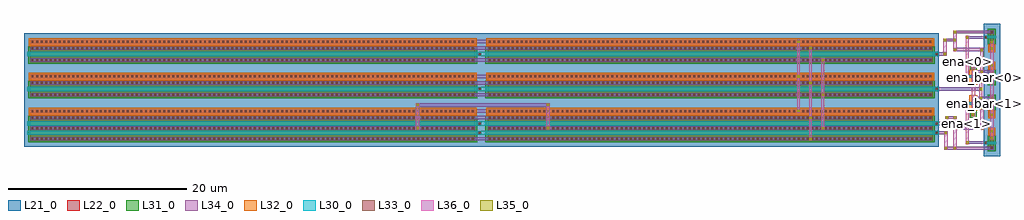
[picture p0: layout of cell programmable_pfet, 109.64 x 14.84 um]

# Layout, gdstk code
from math import pi, radians
import gdstk
lib = gdstk.Library(unit=1e-6, precision=5e-09)
def R(c, l, rs):  # rectangles x0, y0, x1, y1
    for r in rs: c.add(gdstk.rectangle(r[:2], r[2:], *l))
def A(c, l, x, y, w, h, nx, ny, dx, dy):  # array of equal rectangles
    R(c, l, [(x+i*dx, y+j*dy, x+i*dx+w, y+j*dy+h) for i in range(nx) for j in range(ny)])
L21_0 = (21, 0)
L22_0 = (22, 0)
L30_0 = (30, 0)
L31_0 = (31, 0)
L32_0 = (32, 0)
L33_0 = (33, 0)
L34_0 = (34, 0)
L35_0 = (35, 0)
L36_0 = (36, 0)

pfet_2 = lib.new_cell('pfet$2')
R(pfet_2, L21_0, [(-1.15,-0.69,2.76,50.69)])
R(pfet_2, L22_0, [(-0.46,0,0,50), (0,0,0.88,50), (0.88,0,1.34,50), (1.34,0,2.07,50)])
R(pfet_2, L30_0, [(0.19,-0.3,0.69,50.3), (0.19,50.3,0.69,50.68)])
R(pfet_2, L31_0, [(-0.63,-0.24,1.34,50.24)])
R(pfet_2, L32_0, [(1.34,-0.17,2.24,50.17)])
A(pfet_2, L33_0, -0.34, 0.155, 0.22, 0.22, 1, 98, 0, 0.51)
A(pfet_2, L33_0, 1, 0.155, 0.22, 0.22, 1, 98, 0, 0.51)
A(pfet_2, L33_0, 1.73, 0.155, 0.22, 0.22, 1, 98, 0, 0.51)
R(pfet_2, L33_0, [(0.33,50.38,0.55,50.6)])
R(pfet_2, L34_0, [(-0.42,0.075,-0.04,49.925), (0.92,0.075,1.3,49.925), (1.65,0.075,2.03,49.925), (0.25,50.3,0.63,50.68)])

pfet_1_1 = lib.new_cell('pfet$1$1')
R(pfet_1_1, L21_0, [(-1.15,-0.69,3.78,50.69)])
R(pfet_1_1, L22_0, [(-0.46,0,0,50), (0,0,1.9,50), (1.9,0,2.36,50), (2.36,0,3.09,50)])
R(pfet_1_1, L30_0, [(0.19,-0.3,0.69,50.3), (1.21,-0.3,1.71,50.3), (0.19,50.3,0.69,50.68), (1.21,50.3,1.71,50.68)])
R(pfet_1_1, L31_0, [(-0.63,-0.24,2.36,50.24)])
R(pfet_1_1, L32_0, [(2.36,-0.17,3.26,50.17)])
A(pfet_1_1, L33_0, -0.34, 0.155, 0.22, 0.22, 3, 98, 1.18, 0.51)
A(pfet_1_1, L33_0, 2.75, 0.155, 0.22, 0.22, 1, 98, 0, 0.51)
R(pfet_1_1, L33_0, [(0.33,50.38,0.55,50.6), (1.35,50.38,1.57,50.6)])
A(pfet_1_1, L34_0, -0.42, 0.075, 0.38, 49.85, 3, 1, 1.18, 0)
R(pfet_1_1, L34_0, [(2.67,0.075,3.05,49.925), (0.25,50.3,0.63,50.68), (1.27,50.3,1.65,50.68)])

pfet_3 = lib.new_cell('pfet$3')
R(pfet_3, L21_0, [(-1.16,-0.71,2.55,1.13)])
R(pfet_3, L22_0, [(-0.46,-0.01,0,0.43), (0.66,-0.01,1.12,0.43), (1.12,-0.01,1.85,0.43), (0,0,0.66,0.42)])
R(pfet_3, L30_0, [(0.19,-0.3,0.47,0.72), (0.14,0.72,0.52,1.1)])
R(pfet_3, L31_0, [(-0.63,-0.25,1.12,0.67)])
R(pfet_3, L32_0, [(1.12,-0.17,2.02,0.59)])
R(pfet_3, L33_0, [(-0.34,0.1,-0.12,0.32), (0.78,0.1,1,0.32), (1.51,0.1,1.73,0.32), (0.22,0.8,0.44,1.02)])
R(pfet_3, L34_0, [(-0.42,0.02,-0.04,0.4), (0.7,0.02,1.08,0.4), (1.43,0.02,1.81,0.4), (0.14,0.72,0.52,1.1)])

nfet = lib.new_cell('nfet')
R(nfet, L22_0, [(-0.42,-0.01,0,0.43), (0.66,-0.01,1.08,0.43), (1.08,-0.01,1.79,0.43), (0,0,0.66,0.42)])
R(nfet, L30_0, [(0.19,-0.3,0.47,0.72), (0.15,0.72,0.51,1.08)])
R(nfet, L31_0, [(1.08,-0.17,1.96,0.59)])
R(nfet, L32_0, [(-0.59,-0.25,1.08,0.67)])
R(nfet, L33_0, [(-0.32,0.1,-0.1,0.32), (0.76,0.1,0.98,0.32), (1.47,0.1,1.69,0.32), (0.22,0.79,0.44,1.01)])
R(nfet, L34_0, [(-0.4,0.02,-0.02,0.4), (0.68,0.02,1.06,0.4), (1.39,0.02,1.77,0.4), (0.14,0.71,0.52,1.09)])

pfet = lib.new_cell('pfet')

pfet_1 = lib.new_cell('pfet$1')
R(pfet_1, L21_0, [(-1.16,-0.71,2.55,1.13)])
R(pfet_1, L22_0, [(-0.46,-0.01,0,0.43), (0.66,-0.01,1.12,0.43), (1.12,-0.01,1.85,0.43), (0,0,0.66,0.42)])
R(pfet_1, L30_0, [(0.19,-0.3,0.47,0.72), (0.14,0.72,0.52,1.1)])
R(pfet_1, L31_0, [(-0.63,-0.25,1.12,0.67)])
R(pfet_1, L32_0, [(1.12,-0.17,2.02,0.59)])
R(pfet_1, L33_0, [(-0.34,0.1,-0.12,0.32), (0.78,0.1,1,0.32), (1.51,0.1,1.73,0.32), (0.22,0.8,0.44,1.02)])
R(pfet_1, L34_0, [(-0.42,0.02,-0.04,0.4), (0.7,0.02,1.08,0.4), (1.43,0.02,1.81,0.4), (0.14,0.72,0.52,1.1)])

transmission_gate = lib.new_cell('transmission_gate')
R(transmission_gate, L34_0, [(-1.54,-0.6,0.915,-0.225), (-1.54,0.48,0.915,0.895)])
transmission_gate.add(gdstk.Reference(nfet, (0.515,0.46), rotation=3*pi/2))
transmission_gate.add(gdstk.Reference(pfet, (-1.075,0.09), rotation=3*pi/2))
transmission_gate.add(gdstk.Reference(pfet, (-0.98,0.115), rotation=3*pi/2))
transmission_gate.add(gdstk.Reference(pfet, (-0.925,-0.105), rotation=3*pi/2))
transmission_gate.add(gdstk.Reference(pfet, (-1.045,0.115), rotation=3*pi/2))
transmission_gate.add(gdstk.Reference(pfet, (-3.895,0.255), rotation=3*pi/2))
transmission_gate.add(gdstk.Reference(pfet, (-4.225,0.69), rotation=3*pi/2))
transmission_gate.add(gdstk.Reference(pfet, (-3.75,0.445), rotation=3*pi/2))
transmission_gate.add(gdstk.Reference(pfet, (-4.065,-0.635), rotation=3*pi/2))
transmission_gate.add(gdstk.Reference(pfet, (-4.08,-0.7), rotation=3*pi/2))
transmission_gate.add(gdstk.Reference(pfet, (-4.065,-0.57), rotation=3*pi/2))
transmission_gate.add(gdstk.Reference(pfet, (-1.45,0.065), rotation=3*pi/2))
transmission_gate.add(gdstk.Reference(pfet, (-1.48,0.125), rotation=3*pi/2))
transmission_gate.add(gdstk.Reference(pfet, (-1.645,0.065), rotation=3*pi/2))
transmission_gate.add(gdstk.Reference(pfet, (-0.11,-0.01), rotation=3*pi/2))
transmission_gate.add(gdstk.Reference(pfet, (-0.335,0.205), rotation=3*pi/2))
transmission_gate.add(gdstk.Reference(pfet, (-1.17,0.295), rotation=3*pi/2))
transmission_gate.add(gdstk.Reference(pfet_1, (-1.14,0.475), rotation=3*pi/2, x_reflection=True))
transmission_gate.add(gdstk.Label('in', (-0.32,0.68), layer=34, texttype=10))
transmission_gate.add(gdstk.Label('out', (-0.345,-0.395), layer=34, texttype=10))
transmission_gate.add(gdstk.Label('VDD', (-1.36,-1.17), layer=34, texttype=10))
transmission_gate.add(gdstk.Label('VSS', (0.72,-1.135), layer=34, texttype=10))
transmission_gate.add(gdstk.Label('ena_bar', (-2.055,0.15), layer=34, texttype=10))
transmission_gate.add(gdstk.Label('ena', (1.385,0.1), layer=34, texttype=10))

pfet_5 = lib.new_cell('pfet$5')
R(pfet_5, L21_0, [(-1.16,-0.71,2.55,1.13)])
R(pfet_5, L22_0, [(-0.46,-0.01,0,0.43), (0.66,-0.01,1.12,0.43), (1.12,-0.01,1.85,0.43), (0,0,0.66,0.42)])
R(pfet_5, L30_0, [(0.14,-0.68,0.52,-0.3), (0.19,-0.3,0.47,0.72)])
R(pfet_5, L31_0, [(-0.63,-0.25,1.12,0.67)])
R(pfet_5, L32_0, [(1.12,-0.17,2.02,0.59)])
R(pfet_5, L33_0, [(0.22,-0.6,0.44,-0.38), (-0.34,0.1,-0.12,0.32), (0.78,0.1,1,0.32), (1.51,0.1,1.73,0.32)])
R(pfet_5, L34_0, [(0.14,-0.68,0.52,-0.3), (-0.42,0.02,-0.04,0.4), (0.7,0.02,1.08,0.4), (1.43,0.02,1.81,0.4)])

programmable_pfet = lib.new_cell('programmable_pfet')
R(programmable_pfet, L30_0, [(-13.46,-5.05,6.54,-4.55), (-13.46,-4.03,6.54,-3.53), (-13.455,-0.12,6.545,0.38), (-13.42,3.79,6.58,4.29)])
R(programmable_pfet, L34_0, [(48.53,-6.725,49.955,-6.355), (49.555,-6.725,53.71,-6.355), (53.71,-6.725,54.09,-6.295), (50.945,-6.02,53.01,-5.735), (-10.625,-5.66,4.41,-5.28), (47.55,-4.99,48.925,-4.61), (49.57,-4.475,52.98,-4.095), (47.55,-3.96,49.055,-3.585), (-10.7,-3.3,4.335,-2.92), (48.66,-3.26,49.95,-2.935), (-10.595,-2.57,4.44,-2.19), (-10.79,-1.855,4.245,-1.475), (-10.595,-0.73,4.44,-0.35), (49.57,-0.065,52.835,0.315), (47.55,-0.06,50.09,0.315), (-10.55,0.61,4.485,0.99), (-10.54,1.34,4.495,1.72), (-10.545,3.18,4.49,3.56), (47.55,3.85,48.835,4.23), (49.56,4.345,52.97,4.725), (-10.5,4.52,4.535,4.9), (-10.52,5.25,4.515,5.63), (48.44,5.45,49.95,5.77), (50.945,5.74,53.01,6.025), (49.555,6.35,53.71,6.68)])
A(programmable_pfet, L35_0, 33.405, -3.24, 0.26, 0.26, 1, 3, 0, 3.91)
R(programmable_pfet, L35_0, [(49.61,-6.68,49.87,-6.42), (48.605,-6.665,48.865,-6.405), (51.04,-6.02,51.3,-5.76), (33.405,-5.6,33.665,-5.34), (53.77,-5.49,54.03,-5.23), (48.605,-4.935,48.865,-4.675), (48.605,-4.935,48.865,-4.675), (53.77,-4.77,54.03,-4.51), (34.78,-4.42,35.04,-4.16), (-10.725,-4.415,-10.465,-4.155), (3.92,-4.415,4.18,-4.155), (49.63,-4.415,49.89,-4.155), (49.63,-4.415,49.89,-4.155), (52.665,-4.405,52.925,-4.145), (48.73,-3.945,48.99,-3.685), (49.625,-3.23,49.885,-2.97), (48.735,-3.21,48.995,-2.95), (53.765,-2.905,54.025,-2.645), (51.69,-2.885,51.95,-2.625), (32.045,-2.465,32.305,-2.205), (52.665,-2.17,52.925,-1.91), (-10.725,-1.795,-10.465,-1.535), (3.92,-1.795,4.18,-1.535), (51.005,-1.63,51.265,-1.37), (52.55,-1.065,52.81,-0.805), (34.78,-0.67,35.04,-0.41), (52.55,-0.005,52.81,0.255), (52.555,0.825,52.815,1.085), (50.995,1.385,51.255,1.645), (32.045,1.395,32.305,1.655), (52.63,1.92,52.89,2.18), (51.695,2.625,51.955,2.885), (53.77,2.655,54.03,2.915), (34.78,3.205,35.04,3.465), (48.515,3.915,48.775,4.175), (52.65,4.38,52.91,4.64), (49.63,4.395,49.89,4.655), (53.77,4.515,54.03,4.775), (53.77,5.245,54.03,5.505), (32.045,5.285,32.305,5.545), (48.515,5.475,48.775,5.735), (49.615,5.48,49.875,5.74), (51.005,5.75,51.265,6.01), (49.63,6.385,49.89,6.645)])
R(programmable_pfet, L36_0, [(48.53,-6.725,48.925,-4.61), (49.555,-6.725,49.95,-2.935), (50.945,-6.095,51.325,-1.31), (33.385,-5.66,33.685,4.92), (53.71,-5.555,54.09,5.56), (-10.79,-4.48,-10.4,-1.475), (3.855,-4.48,4.245,-1.475), (34.76,-4.48,35.06,3.56), (52.615,-4.475,52.98,-1.855), (48.66,-3.96,49.055,-2.935), (51.635,-2.94,52.015,2.945), (32.025,-2.57,32.325,5.63), (52.495,-1.15,52.835,1.155), (50.945,1.31,51.325,6.095), (52.585,1.86,52.95,4.735), (48.44,3.85,48.835,5.77), (49.555,4.345,49.95,6.68)])
programmable_pfet.add(gdstk.Reference(pfet_2, (-54.13,3.6), rotation=pi/2, x_reflection=True))
programmable_pfet.add(gdstk.Reference(pfet_1_1, (-54.13,-5.24), rotation=pi/2, x_reflection=True))
programmable_pfet.add(gdstk.Reference(pfet_1_1, (-2.75,-5.24), rotation=pi/2, x_reflection=True))
programmable_pfet.add(gdstk.Reference(pfet_2, (-54.13,-0.31), rotation=pi/2, x_reflection=True))
programmable_pfet.add(gdstk.Reference(pfet_2, (-2.75,-0.31), rotation=pi/2, x_reflection=True))
programmable_pfet.add(gdstk.Reference(pfet_2, (-2.75,3.6), rotation=pi/2, x_reflection=True))
programmable_pfet.add(gdstk.Reference(pfet_3, (54.11,-6.26), rotation=pi/2))
programmable_pfet.add(gdstk.Reference(transmission_gate, (52.55,1.635), rotation=pi))
programmable_pfet.add(gdstk.Reference(pfet_5, (53.69,6.26), rotation=3*pi/2))
programmable_pfet.add(gdstk.Reference(transmission_gate, (52.55,-1.635), rotation=pi, x_reflection=True))
programmable_pfet.add(gdstk.Label('ena_bar<1>', (54.575,-1.505), layer=34, texttype=10))
programmable_pfet.add(gdstk.Label('ena_bar<0>', (54.49,1.44), layer=34, texttype=10))
programmable_pfet.add(gdstk.Label('g', (52.615,0.05), layer=36, texttype=10))
programmable_pfet.add(gdstk.Label('ena<0>', (51.15,3.215), layer=36, texttype=10))
programmable_pfet.add(gdstk.Label('ena<1>', (51.015,-3.74), layer=36, texttype=10))

lib.write_gds('programmable_pfet.gds')
